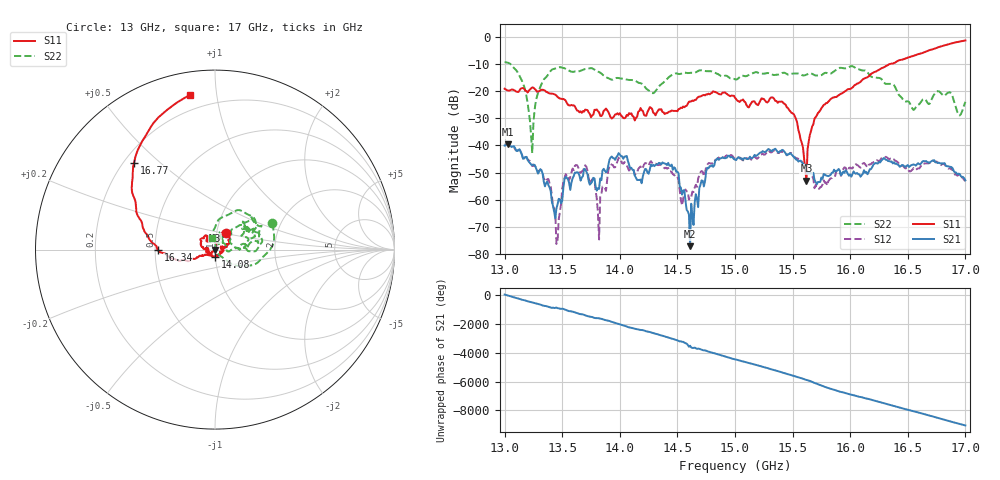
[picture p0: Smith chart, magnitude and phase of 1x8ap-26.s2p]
!Keysight Technologies,P9374A,MY57211807,A.19.30.04
!Date: Friday, May 08, 2026 15:42:56
!Correction: S11(C  2-Port  )
!S21(C  2-Port  )
!S12(C  2-Port  )
!S22(C  2-Port  )
!S2P File: Measurements: S11, S21, S12, S22:
# Hz S  dB  R 50
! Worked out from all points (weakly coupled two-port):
!   401 points, 13 GHz to 17 GHz, reference 50 ohm
!   highest |S21| = -39.52 dB at 13.03 GHz (marker M1); lowest = -77.2 dB at 14.61 GHz (marker M2)
!   lowest |S11| = -53.1 dB at 15.62 GHz (marker M3), VSWR 1.00, Z = 49.8 - j0.153 ohm
!   |S11| at or under -10 dB: start of sweep to 16.34 GHz
!   |S22| runs from -42.9 to -9.2 dB; largest |S21 - S12| = 0.0034
!   S11 on the Smith chart (normalised r, x): 13 GHz: 1.11, +0.21; 14.08 GHz: 1.00, -0.08; 16.34 GHz: 0.52, -0.00; 16.77 GHz: 0.24, +0.41; 17 GHz: 0.12, +0.84
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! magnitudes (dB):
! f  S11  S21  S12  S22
! 13 GHz  -19.0  -40.1  -39.7  -9.2
! 13.03 GHz  -19.7  -39.5  -39.4  -9.4
! 13.16 GHz  -18.8  -44.9  -44.8  -17.1
! 13.23 GHz  -18.9  -47.0  -46.5  -36.3
! 13.38 GHz  -20.6  -54.6  -52.4  -13.7
! 13.46 GHz  -22.1  -61.7  -75.1  -11.3
! 13.53 GHz  -23.4  -51.5  -50.7  -11.6
! 13.67 GHz  -28.0  -51.9  -49.6  -12.3
! 13.82 GHz  -27.7  -56.0  -74.8  -12.9
! 13.92 GHz  -29.6  -44.5  -46.8  -15.5
! 14.08 GHz  -28.1  -47.0  -49.3  -15.8
! 14.34 GHz  -26.6  -46.4  -47.2  -18.2
! 14.49 GHz  -27.2  -49.7  -51.7  -13.4
! 14.61 GHz  -23.8  -77.2  -58.8  -13.2
! 14.77 GHz  -20.9  -48.5  -46.6  -12.6
! 15 GHz  -22.3  -45.2  -44.9  -15.5
! 15.42 GHz  -24.3  -41.8  -42.5  -13.1
! 15.62 GHz  -53.1  -49.3  -49.7  -13.8
! 15.67 GHz  -32.9  -50.4  -51.3  -13.5
! 16.34 GHz  -9.9  -45.8  -45.0  -17.2
! 16.77 GHz  -3.6  -46.3  -46.4  -20.0
! 17 GHz  -1.2  -52.9  -53.3  -23.9
